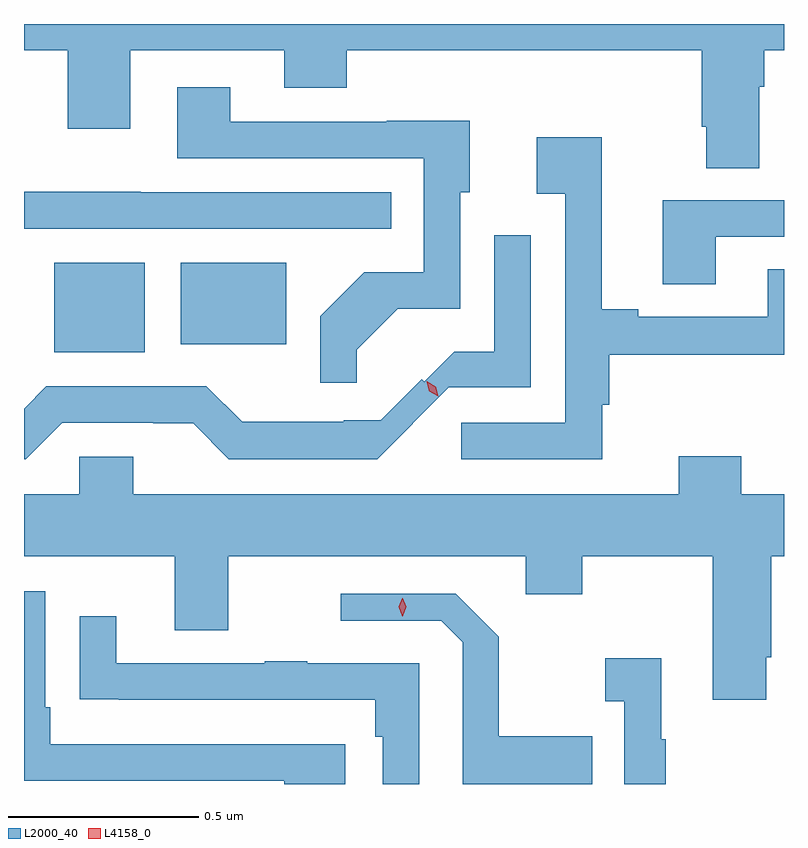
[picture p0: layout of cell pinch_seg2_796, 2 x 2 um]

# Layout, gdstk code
import gdstk
lib = gdstk.Library(unit=1e-6, precision=1e-09)
def R(c, l, rs):  # rectangles x0, y0, x1, y1
    for r in rs: c.add(gdstk.rectangle(r[:2], r[2:], *l))
def P(c, l, *ps):  # polygons
    for p in ps: c.add(gdstk.Polygon(p, *l))
L2000_40 = (2000, 40)
L4158_0 = (4158, 0)

pinch_seg2_796 = lib.new_cell('pinch_seg2_796')
R(pinch_seg2_796, L2000_40, [(730.973,634.853,731.212,635.089), (731.306,634.874,731.584,635.089)])
P(pinch_seg2_796, L2000_40, [(732.829,635.552),(732.842,635.552),(732.842,635.648),(732.894,635.648),(732.894,635.717),(730.894,635.717),(730.894,635.648),(731.009,635.648),(731.009,635.442),(731.173,635.442),(731.173,635.648),(731.579,635.648),(731.579,635.549),(731.743,635.549),(731.743,635.648),(732.677,635.648),(732.677,635.446),(732.689,635.446),(732.689,635.338),(732.829,635.338)],
  [(731.769,634.86),(731.877,634.968),(732.042,634.968),(732.042,635.274),(732.067,635.274),(732.067,635.462),(731.849,635.462),(731.849,635.46),(731.437,635.46),(731.437,635.551),(731.297,635.551),(731.297,635.364),(731.946,635.364),(731.946,635.064),(731.789,635.064),(731.673,634.948),(731.673,634.773),(731.769,634.773)],
  [(732.416,634.715),(732.434,634.715),(732.434,634.846),(732.894,634.846),(732.894,635.072),(732.851,635.072),(732.851,634.947),(732.511,634.947),(732.511,634.967),(732.415,634.967),(732.415,635.419),(732.243,635.419),(732.243,635.27),(732.318,635.27),(732.318,634.668),(732.045,634.668),(732.045,634.572),(732.416,634.572)],
  [(731.861,635.274),(731.201,635.274),(731.201,635.275),(730.894,635.275),(730.894,635.178),(731.861,635.178)],
  [(732.715,635.157),(732.894,635.157),(732.894,635.253),(732.575,635.253),(732.575,635.032),(732.715,635.032)],
  [(730.995,634.668),(731.234,634.668),(731.234,634.667),(731.339,634.667),(731.433,634.572),(731.823,634.572),(732.012,634.761),(732.228,634.761),(732.228,635.161),(732.132,635.161),(732.132,634.855),(732.026,634.855),(731.947,634.776),(731.941,634.782),(731.833,634.674),(731.736,634.674),(731.736,634.67),(731.468,634.67),(731.373,634.764),(730.953,634.764),(730.894,634.705),(730.894,634.572),(730.899,634.572)],
  [(732.847,634.051),(732.86,634.051),(732.86,634.316),(732.894,634.316),(732.894,634.48),(732.781,634.48),(732.781,634.579),(732.617,634.579),(732.617,634.48),(731.182,634.48),(731.182,634.578),(731.04,634.578),(731.04,634.48),(730.894,634.48),(730.894,634.316),(731.291,634.316),(731.291,634.122),(731.431,634.122),(731.431,634.316),(732.215,634.316),(732.215,634.217),(732.363,634.217),(732.363,634.316),(732.707,634.316),(732.707,633.939),(732.847,633.939)],
  [(731.74,633.822),(730.963,633.822),(730.963,633.919),(730.95,633.919),(730.95,634.224),(730.894,634.224),(730.894,633.726),(731.579,633.726),(731.579,633.717),(731.74,633.717)],
  [(732.389,633.843),(732.143,633.843),(732.143,634.105),(732.03,634.218),(731.727,634.218),(731.727,634.146),(731.992,634.146),(732.048,634.09),(732.048,633.717),(732.389,633.717)],
  [(731.934,634.035),(731.639,634.035),(731.639,634.04),(731.527,634.04),(731.527,634.035),(731.137,634.035),(731.137,634.159),(731.041,634.159),(731.041,633.94),(731.143,633.94),(731.143,633.939),(731.818,633.939),(731.818,633.842),(731.838,633.842),(731.838,633.717),(731.934,633.717)],
  [(732.583,633.835),(732.571,633.835),(732.571,634.048),(732.423,634.048),(732.423,633.935),(732.474,633.935),(732.474,633.717),(732.583,633.717)])
P(pinch_seg2_796, L4158_0, [(731.89,634.159),(731.89,634.159),(731.88,634.183),(731.89,634.206),(731.89,634.206),(731.891,634.206),(731.9,634.183),(731.891,634.159)],
  [(731.984,634.738),(731.961,634.751),(731.954,634.776),(731.954,634.777),(731.954,634.777),(731.977,634.763),(731.984,634.738),(731.984,634.738)])

lib.write_gds('pinch_seg2_796.gds')
